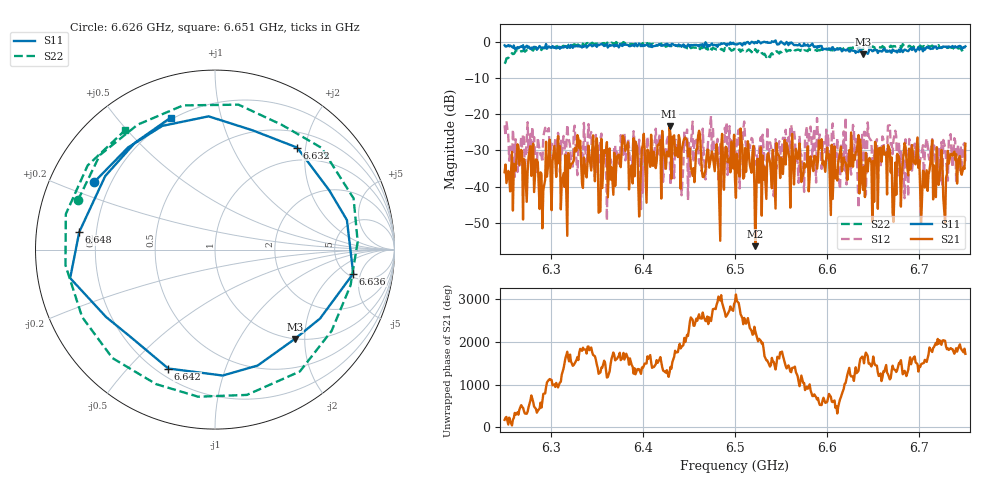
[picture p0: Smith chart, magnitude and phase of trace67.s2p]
# Hz S RI R 50
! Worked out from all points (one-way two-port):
!   401 points, 6.25 GHz to 6.75 GHz, reference 50 ohm
!   highest |S21| = -23.26 dB at 6.429 GHz (marker M1); lowest = -56.4 dB at 6.522 GHz (marker M2)
!   lowest |S11| = -3.5 dB at 6.639 GHz (marker M3), VSWR 5.01, Z = 49.7 - j89.4 ohm
!   |S11| at or under -10 dB: nowhere
!   |S22| runs from -6.1 to -0.1 dB; largest |S21 - S12| = 0.12
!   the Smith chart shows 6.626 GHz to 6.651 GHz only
!   S11 on the Smith chart (normalised r, x): 6.626 GHz: 0.14, +0.26; 6.632 GHz: 0.76, +1.84; 6.636 GHz: 5.51, -3.78; 6.642 GHz: 0.24, -0.65; 6.648 GHz: 0.14, +0.06; 6.651 GHz: 0.19, +0.70
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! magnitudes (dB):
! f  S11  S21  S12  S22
! 6.25 GHz  -1.0  -36.0  -23.1  -6.1
! 6.264 GHz  -1.5  -28.3  -35.9  -2.4
! 6.29 GHz  -1.8  -36.4  -31.5  -2.3
! 6.296 GHz  -2.0  -37.2  -24.6  -1.7
! 6.334 GHz  -1.6  -39.1  -29.0  -1.0
! 6.364 GHz  -0.9  -29.5  -35.0  -0.1
! 6.418 GHz  -0.7  -28.1  -25.4  -0.8
! 6.429 GHz  -1.2  -23.3  -29.2  -0.9
! 6.5 GHz  -0.7  -38.1  -31.1  -2.2
! 6.522 GHz  -0.1  -56.4  -33.9  -2.1
! 6.584 GHz  -0.6  -34.2  -31.7  -2.4
! 6.626 GHz  -2.3  -25.0  -36.7  -1.8
! 6.632 GHz  -2.7  -30.3  -29.5  -2.1
! 6.636 GHz  -2.1  -27.0  -33.0  -2.0
! 6.639 GHz  -3.5  -40.9  -36.8  -2.0
! 6.642 GHz  -3.0  -30.6  -42.2  -1.7
! 6.648 GHz  -2.4  -33.4  -27.4  -1.5
! 6.651 GHz  -2.2  -44.2  -31.7  -1.6
! 6.668 GHz  -2.4  -29.8  -23.1  -1.4
! 6.681 GHz  -2.5  -36.9  -37.9  -1.5
! 6.728 GHz  -1.4  -50.0  -29.1  -1.6
! 6.75 GHz  -1.3  -28.2  -33.0  -2.1
